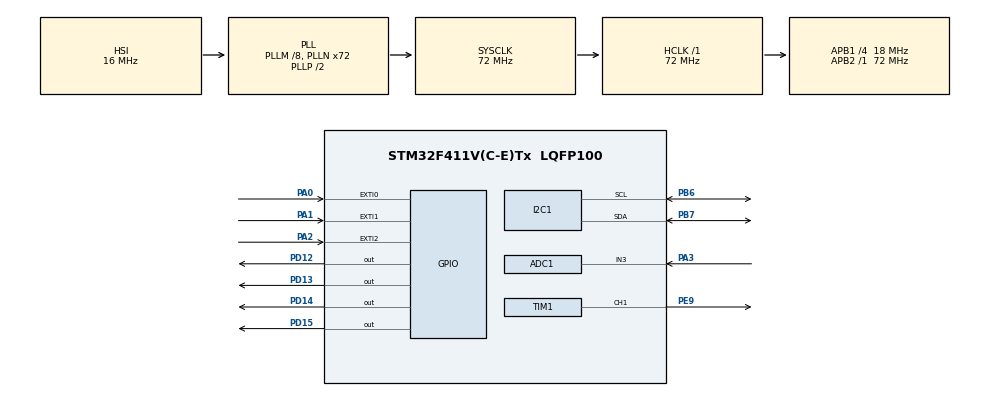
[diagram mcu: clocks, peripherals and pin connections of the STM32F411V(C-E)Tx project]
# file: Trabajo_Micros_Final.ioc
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ADC1.Channel-0\#ChannelRegularConversion=ADC_CHANNEL_3
ADC1.NbrOfConversionFlag=1
ADC1.Resolution=ADC_RESOLUTION_8B
ADC1.master=1
Mcu.Family=STM32F4
Mcu.Name=STM32F411V(C-E)Tx
Mcu.Package=LQFP100
NVIC.EXTI0_IRQn=true\:0\:0\:false\:false\:true\:true\:true\:true
NVIC.EXTI1_IRQn=true\:0\:0\:false\:false\:true\:true\:true\:true
NVIC.EXTI2_IRQn=true\:0\:0\:false\:false\:true\:true\:true\:true
NVIC.PriorityGroup=NVIC_PRIORITYGROUP_0
PA0-WKUP.Signal=GPXTI0
PA1.Signal=GPXTI1
PA2.Signal=GPXTI2
PA3.Signal=ADCx_IN3
PB6.Mode=I2C
PB6.Signal=I2C1_SCL
PB7.Mode=I2C
PB7.Signal=I2C1_SDA
PD12.Signal=GPIO_Output
PD13.Signal=GPIO_Output
PD14.Signal=GPIO_Output
PD15.Signal=GPIO_Output
PE9.Signal=S_TIM1_CH1
ProjectManager.HeapSize=0x200
ProjectManager.StackSize=0x400
ProjectManager.TargetToolchain=STM32CubeIDE
RCC.48MHZClocksFreq_Value=18000000
RCC.AHBFreq_Value=72000000
RCC.APB1CLKDivider=RCC_HCLK_DIV4
RCC.APB1Freq_Value=18000000
RCC.APB1TimFreq_Value=36000000
RCC.APB2Freq_Value=72000000
RCC.APB2TimFreq_Value=72000000
RCC.CortexFreq_Value=72000000
RCC.HCLKFreq_Value=72000000
RCC.HSE_VALUE=8000000
RCC.HSI_VALUE=16000000
RCC.LSE_VALUE=32768
RCC.PLLI2SM=5
RCC.PLLI2SN=200
RCC.PLLM=8
RCC.PLLN=72
RCC.PLLQ=8
RCC.SYSCLKFreq_VALUE=72000000
RCC.SYSCLKSource=RCC_SYSCLKSOURCE_PLLCLK
RCC.VCOOutputFreq_Value=144000000
SH.ADCx_IN3.0=ADC1_IN3,IN3
SH.S_TIM1_CH1.0=TIM1_CH1,PWM Generation1 CH1
TIM1.Channel-PWM\ Generation1\ CH1=TIM_CHANNEL_1
TIM1.Period=999
TIM1.Prescaler=359
VP_TIM1_VS_ClockSourceINT.Mode=Internal
board=STM32F411E-DISCO

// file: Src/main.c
/* USER CODE BEGIN Header */
/**
  ******************************************************************************
  * @file           : main.c
  * @brief          : Main program body
  ******************************************************************************
  * @attention
  *
  * Copyright (c) 2024 STMicroelectronics.
  * All rights reserved.
  *
  * This software is licensed under terms that can be found in the LICENSE file
  * in the root directory of this software component.
  * If no LICENSE file comes with this software, it is provided AS-IS.
  *
  ******************************************************************************
  */
/* USER CODE END Header */
#include "main.h"
#include "i2c-lcd.h"

ADC_HandleTypeDef hadc1;

I2C_HandleTypeDef hi2c1;

TIM_HandleTypeDef htim1;

/* USER CODE BEGIN PV */
volatile int mode=0;
volatile int subir=0;
volatile int bajar=0;
volatile int subido=0;
volatile int bajado=0;
volatile int servo_a=0;
volatile int servo_h=0;

/* USER CODE END PV */

void SystemClock_Config(void);
static void MX_GPIO_Init(void);
static void MX_TIM1_Init(void);
static void MX_ADC1_Init(void);
static void MX_I2C1_Init(void);
/* USER CODE BEGIN PFP */

int servo_girar_a(int ini,int fin);
int servo_girar_h(int ini,int fin);
void Subir();
void Bajar();
void funcion_dia();
void funcion_noche();
/* USER CODE END PFP */

/* USER CODE BEGIN 0 */
void HAL_GPIO_EXTI_Callback(uint16_t GPIO_Pin){
	if (GPIO_Pin==GPIO_PIN_0){
		if(mode%2==0){
			mode++;
		}else{
			mode--;
		}
	}
	if (GPIO_Pin==GPIO_PIN_1){
			if(!mode){
				subir=1;
				bajar=0;
			}
		}
	if (GPIO_Pin==GPIO_PIN_2){
				if(!mode){
					subir=0;
					bajar=1;
				}
			}
}

int servo_girar_a(int ini,int fin){
	HAL_GPIO_WritePin(GPIOD, GPIO_PIN_14,1);
	while(ini<=fin){
		htim1.Instance->CCR1 = ini;
		ini++;
		HAL_Delay(50);
	}

	return 1;
}

int servo_girar_h(int ini,int fin){
	HAL_GPIO_WritePin(GPIOD, GPIO_PIN_15,1);
	while(ini>=fin){
		htim1.Instance->CCR1 = ini;
		ini--;
		HAL_Delay(50);
	}

	return 1;
}

void Subir(){
	  lcd_put_cur(0, 3);
	  lcd_send_string("SUBIENDO...");
	HAL_TIM_PWM_Start(&htim1, TIM_CHANNEL_1);
	servo_a=servo_girar_a(0,400);
	lcd_clear();
	if(servo_a){
		HAL_TIM_PWM_Stop(&htim1, TIM_CHANNEL_1);
		HAL_GPIO_WritePin(GPIOD, GPIO_PIN_14, 0);
		HAL_GPIO_WritePin(GPIOD, GPIO_PIN_15, 0);
		subir=0;
		subido=1;
		bajado=0;
		servo_a=0;
	}
}

void Bajar(){
	 lcd_put_cur(0, 3);
	 lcd_send_string("BAJANDO...");
	HAL_TIM_PWM_Start(&htim1, TIM_CHANNEL_1);
		servo_h=servo_girar_h(400,0);
	lcd_clear();
		if(servo_h){
			HAL_TIM_PWM_Stop(&htim1, TIM_CHANNEL_1);
			HAL_GPIO_WritePin(GPIOD, GPIO_PIN_14, 0);
			HAL_GPIO_WritePin(GPIOD, GPIO_PIN_15, 0);
			bajar=0;
			bajado=1;
			subido=0;
			servo_h=0;
		}
}

void funcion_dia(){
	lcd_put_cur(0, 2);
	    lcd_send_string("ES DE DIA");
	    lcd_put_cur(1, 3);
	    lcd_send_string("LEVANTATE");
	    HAL_Delay(2000);
	    lcd_clear();
}

void funcion_noche(){
	lcd_put_cur(0, 1);
		    lcd_send_string("ES DE NOCHE");
		    lcd_put_cur(1, 5);
		    lcd_send_string("A DORMIR");
		    HAL_Delay(2000);
		    lcd_clear();
}
/* USER CODE END 0 */

int main(void)
{

  /* MCU Configuration--------------------------------------------------------*/

  /* Reset of all peripherals, Initializes the Flash interface and the Systick. */
  HAL_Init();

  /* Configure the system clock */
  SystemClock_Config();

  /* Initialize all configured peripherals */
  MX_GPIO_Init();
  MX_TIM1_Init();
  MX_ADC1_Init();
  MX_I2C1_Init();
  /* USER CODE BEGIN 2 */

int adc_valor;
int umbral=130;

lcd_init();
lcd_clear();

HAL_TIM_PWM_Start(&htim1, TIM_CHANNEL_1);
    htim1.Instance->CCR1 = 25;
    bajado = 1;
    HAL_Delay(50);
    HAL_TIM_PWM_Stop(&htim1, TIM_CHANNEL_1);
    HAL_Delay(50);
  /* USER CODE END 2 */

  /* Infinite loop */
  while (1)
  {
	  if(!mode){
	      	lcd_put_cur(0,0);
	      	lcd_send_string("   ");
	      	lcd_put_cur(1, 0);
	      	lcd_send_string("MODE: MANUAL");

	      	HAL_GPIO_WritePin(GPIOD, GPIO_PIN_13, 0);
	      	if(subir && !subido){
	      		lcd_clear();
	      		Subir();
	      	}
	      	if(bajar && !bajado){
	      		lcd_clear();
	      	    Bajar();
	      	}
	      }else{
	      	lcd_put_cur(0,0);
	      	lcd_send_string("   ");
	      	lcd_put_cur(1, 0);
	      	lcd_send_string("MODE: AUTO");

	      	 HAL_ADC_Start(&hadc1);

	      		if (HAL_ADC_PollForConversion(&hadc1, HAL_MAX_DELAY) == HAL_OK){
	      		  	  	  adc_valor = HAL_ADC_GetValue(&hadc1);
	      		  	  	HAL_GPIO_WritePin(GPIOD, GPIO_PIN_13, 1);
	      		  	  	  	 if ((adc_valor > umbral) && !subido){
	      		  	  	  		         lcd_clear();
	      		  	  	  	  		 	 Subir();
	                                       funcion_dia();

	      		  	  	  	  		//HAL_GPIO_WritePin(GPIOD, GPIO_PIN_13, 1);
	      		  	  	  	    }

	      		  	  	  	 if((adc_valor < umbral) && !bajado) {
	      		  	  	  		         lcd_clear();
	      		  	  	  	  		 	 Bajar();
	      		  	  	  	  		 	 funcion_noche();
	      		  	  	  	  		//HAL_GPIO_WritePin(GPIOD, GPIO_PIN_13, 0);
	      		  	  	  	  		   }
	      		  	}

	      		HAL_ADC_Stop(&hadc1);
	      }

  }
}

void SystemClock_Config(void)
{
  RCC_OscInitTypeDef RCC_OscInitStruct = {0};
  RCC_ClkInitTypeDef RCC_ClkInitStruct = {0};

  /** Configure the main internal regulator output voltage
  */
  __HAL_RCC_PWR_CLK_ENABLE();
  __HAL_PWR_VOLTAGESCALING_CONFIG(PWR_REGULATOR_VOLTAGE_SCALE1);

  /** Initializes the RCC Oscillators according to the specified parameters
  * in the RCC_OscInitTypeDef structure.
  */
  RCC_OscInitStruct.OscillatorType = RCC_OSCILLATORTYPE_HSI;
  RCC_OscInitStruct.HSIState = RCC_HSI_ON;
  RCC_OscInitStruct.HSICalibrationValue = RCC_HSICALIBRATION_DEFAULT;
  RCC_OscInitStruct.PLL.PLLState = RCC_PLL_ON;
  RCC_OscInitStruct.PLL.PLLSource = RCC_PLLSOURCE_HSI;
  RCC_OscInitStruct.PLL.PLLM = 8;
  RCC_OscInitStruct.PLL.PLLN = 72;
  RCC_OscInitStruct.PLL.PLLP = RCC_PLLP_DIV2;
  RCC_OscInitStruct.PLL.PLLQ = 8;
  if (HAL_RCC_OscConfig(&RCC_OscInitStruct) != HAL_OK)
  {
    Error_Handler();
  }

  /** Initializes the CPU, AHB and APB buses clocks
  */
  RCC_ClkInitStruct.ClockType = RCC_CLOCKTYPE_HCLK|RCC_CLOCKTYPE_SYSCLK
                              |RCC_CLOCKTYPE_PCLK1|RCC_CLOCKTYPE_PCLK2;
  RCC_ClkInitStruct.SYSCLKSource = RCC_SYSCLKSOURCE_PLLCLK;
  RCC_ClkInitStruct.AHBCLKDivider = RCC_SYSCLK_DIV1;
  RCC_ClkInitStruct.APB1CLKDivider = RCC_HCLK_DIV4;
  RCC_ClkInitStruct.APB2CLKDivider = RCC_HCLK_DIV1;

  if (HAL_RCC_ClockConfig(&RCC_ClkInitStruct, FLASH_LATENCY_2) != HAL_OK)
  {
    Error_Handler();
  }
}

static void MX_ADC1_Init(void)
{

  ADC_ChannelConfTypeDef sConfig = {0};

  /** Configure the global features of the ADC (Clock, Resolution, Data Alignment and number of conversion)
  */
  hadc1.Instance = ADC1;
  hadc1.Init.ClockPrescaler = ADC_CLOCK_SYNC_PCLK_DIV2;
  hadc1.Init.Resolution = ADC_RESOLUTION_8B;
  hadc1.Init.ScanConvMode = DISABLE;
  hadc1.Init.ContinuousConvMode = DISABLE;
  hadc1.Init.DiscontinuousConvMode = DISABLE;
  hadc1.Init.ExternalTrigConvEdge = ADC_EXTERNALTRIGCONVEDGE_NONE;
  hadc1.Init.ExternalTrigConv = ADC_SOFTWARE_START;
  hadc1.Init.DataAlign = ADC_DATAALIGN_RIGHT;
  hadc1.Init.NbrOfConversion = 1;
  hadc1.Init.DMAContinuousRequests = DISABLE;
  hadc1.Init.EOCSelection = ADC_EOC_SINGLE_CONV;
  if (HAL_ADC_Init(&hadc1) != HAL_OK)
  {
    Error_Handler();
  }

  /** Configure for the selected ADC regular channel its corresponding rank in the sequencer and its sample time.
  */
  sConfig.Channel = ADC_CHANNEL_3;
  sConfig.Rank = 1;
  sConfig.SamplingTime = ADC_SAMPLETIME_3CYCLES;
  if (HAL_ADC_ConfigChannel(&hadc1, &sConfig) != HAL_OK)
  {
    Error_Handler();
  }

}

static void MX_I2C1_Init(void)
{

  hi2c1.Instance = I2C1;
  hi2c1.Init.ClockSpeed = 100000;
  hi2c1.Init.DutyCycle = I2C_DUTYCYCLE_2;
  hi2c1.Init.OwnAddress1 = 0;
  hi2c1.Init.AddressingMode = I2C_ADDRESSINGMODE_7BIT;
  hi2c1.Init.DualAddressMode = I2C_DUALADDRESS_DISABLE;
  hi2c1.Init.OwnAddress2 = 0;
  hi2c1.Init.GeneralCallMode = I2C_GENERALCALL_DISABLE;
  hi2c1.Init.NoStretchMode = I2C_NOSTRETCH_DISABLE;
  if (HAL_I2C_Init(&hi2c1) != HAL_OK)
  {
    Error_Handler();
  }

}

static void MX_TIM1_Init(void)
{

  TIM_ClockConfigTypeDef sClockSourceConfig = {0};
  TIM_MasterConfigTypeDef sMasterConfig = {0};
  TIM_OC_InitTypeDef sConfigOC = {0};
  TIM_BreakDeadTimeConfigTypeDef sBreakDeadTimeConfig = {0};

  htim1.Instance = TIM1;
  htim1.Init.Prescaler = 359;
  htim1.Init.CounterMode = TIM_COUNTERMODE_UP;
  htim1.Init.Period = 999;
  htim1.Init.ClockDivision = TIM_CLOCKDIVISION_DIV1;
  htim1.Init.RepetitionCounter = 0;
  htim1.Init.AutoReloadPreload = TIM_AUTORELOAD_PRELOAD_DISABLE;
  if (HAL_TIM_Base_Init(&htim1) != HAL_OK)
  {
    Error_Handler();
  }
  sClockSourceConfig.ClockSource = TIM_CLOCKSOURCE_INTERNAL;
  if (HAL_TIM_ConfigClockSource(&htim1, &sClockSourceConfig) != HAL_OK)
  {
    Error_Handler();
  }
  if (HAL_TIM_PWM_Init(&htim1) != HAL_OK)
  {
    Error_Handler();
  }
  sMasterConfig.MasterOutputTrigger = TIM_TRGO_RESET;
  sMasterConfig.MasterSlaveMode = TIM_MASTERSLAVEMODE_DISABLE;
  if (HAL_TIMEx_MasterConfigSynchronization(&htim1, &sMasterConfig) != HAL_OK)
  {
    Error_Handler();
  }
  sConfigOC.OCMode = TIM_OCMODE_PWM1;
  sConfigOC.Pulse = 0;
  sConfigOC.OCPolarity = TIM_OCPOLARITY_HIGH;
  sConfigOC.OCNPolarity = TIM_OCNPOLARITY_HIGH;
  sConfigOC.OCFastMode = TIM_OCFAST_DISABLE;
  sConfigOC.OCIdleState = TIM_OCIDLESTATE_RESET;
  sConfigOC.OCNIdleState = TIM_OCNIDLESTATE_RESET;
  if (HAL_TIM_PWM_ConfigChannel(&htim1, &sConfigOC, TIM_CHANNEL_1) != HAL_OK)
  {
    Error_Handler();
  }
  sBreakDeadTimeConfig.OffStateRunMode = TIM_OSSR_DISABLE;
  sBreakDeadTimeConfig.OffStateIDLEMode = TIM_OSSI_DISABLE;
  sBreakDeadTimeConfig.LockLevel = TIM_LOCKLEVEL_OFF;
  sBreakDeadTimeConfig.DeadTime = 0;
  sBreakDeadTimeConfig.BreakState = TIM_BREAK_DISABLE;
  sBreakDeadTimeConfig.BreakPolarity = TIM_BREAKPOLARITY_HIGH;
  sBreakDeadTimeConfig.AutomaticOutput = TIM_AUTOMATICOUTPUT_DISABLE;
  if (HAL_TIMEx_ConfigBreakDeadTime(&htim1, &sBreakDeadTimeConfig) != HAL_OK)
  {
    Error_Handler();
  }
  HAL_TIM_MspPostInit(&htim1);

}

static void MX_GPIO_Init(void)
{
  GPIO_InitTypeDef GPIO_InitStruct = {0};

  /* GPIO Ports Clock Enable */
  __HAL_RCC_GPIOA_CLK_ENABLE();
  __HAL_RCC_GPIOE_CLK_ENABLE();
  __HAL_RCC_GPIOD_CLK_ENABLE();
  __HAL_RCC_GPIOB_CLK_ENABLE();

  /*Configure GPIO pin Output Level */
  HAL_GPIO_WritePin(GPIOD, GPIO_PIN_12|GPIO_PIN_13|GPIO_PIN_14|GPIO_PIN_15, GPIO_PIN_RESET);

  /*Configure GPIO pins : PA0 PA1 PA2 */
  GPIO_InitStruct.Pin = GPIO_PIN_0|GPIO_PIN_1|GPIO_PIN_2;
  GPIO_InitStruct.Mode = GPIO_MODE_IT_RISING;
  GPIO_InitStruct.Pull = GPIO_NOPULL;
  HAL_GPIO_Init(GPIOA, &GPIO_InitStruct);

  /*Configure GPIO pins : PD12 PD13 PD14 PD15 */
  GPIO_InitStruct.Pin = GPIO_PIN_12|GPIO_PIN_13|GPIO_PIN_14|GPIO_PIN_15;
  GPIO_InitStruct.Mode = GPIO_MODE_OUTPUT_PP;
  GPIO_InitStruct.Pull = GPIO_NOPULL;
  GPIO_InitStruct.Speed = GPIO_SPEED_FREQ_LOW;
  HAL_GPIO_Init(GPIOD, &GPIO_InitStruct);

  /* EXTI interrupt init*/
  HAL_NVIC_SetPriority(EXTI0_IRQn, 0, 0);
  HAL_NVIC_EnableIRQ(EXTI0_IRQn);

  HAL_NVIC_SetPriority(EXTI1_IRQn, 0, 0);
  HAL_NVIC_EnableIRQ(EXTI1_IRQn);

  HAL_NVIC_SetPriority(EXTI2_IRQn, 0, 0);
  HAL_NVIC_EnableIRQ(EXTI2_IRQn);

}

void Error_Handler(void)
{
  __disable_irq();
  while (1)
  {
  }
}
